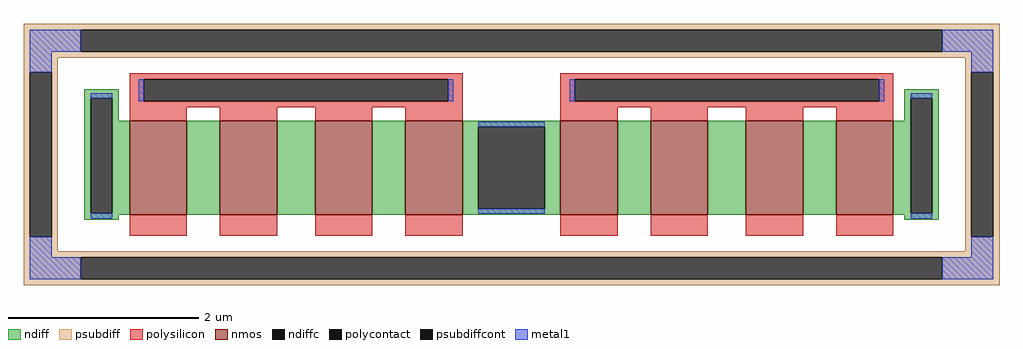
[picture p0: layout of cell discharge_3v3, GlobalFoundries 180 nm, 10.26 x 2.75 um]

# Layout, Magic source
magic
tech gf180mcuD
magscale 1 10
<< nmos >>
rect 317 148 437 346
rect 507 148 627 346
rect 707 148 827 346
rect 897 148 1017 346
rect 1223 148 1343 346
rect 1413 148 1533 346
rect 1613 148 1733 346
rect 1803 148 1923 346
<< ndiff >>
rect 222 393 294 412
rect 222 151 235 393
rect 281 346 294 393
rect 1946 393 2018 412
rect 1946 346 1959 393
rect 281 151 317 346
rect 222 148 317 151
rect 437 148 507 346
rect 627 148 707 346
rect 827 148 897 346
rect 1017 333 1223 346
rect 1017 161 1050 333
rect 1190 161 1223 333
rect 1017 148 1223 161
rect 1343 148 1413 346
rect 1533 148 1613 346
rect 1733 148 1803 346
rect 1923 151 1959 346
rect 2005 151 2018 393
rect 1923 148 2018 151
rect 222 138 294 148
rect 1946 138 2018 148
<< ndiffc >>
rect 235 151 281 393
rect 1050 161 1190 333
rect 1959 151 2005 393
<< psubdiff >>
rect 94 537 2146 550
rect 94 491 214 537
rect 2026 491 2146 537
rect 94 478 2146 491
rect 94 448 166 478
rect 94 102 107 448
rect 153 102 166 448
rect 2074 448 2146 478
rect 94 72 166 102
rect 2074 102 2087 448
rect 2133 102 2146 448
rect 2074 72 2146 102
rect 94 59 2146 72
rect 94 13 214 59
rect 2026 13 2146 59
rect 94 0 2146 13
<< psubdiffcont >>
rect 214 491 2026 537
rect 107 102 153 448
rect 2087 102 2133 448
rect 214 13 2026 59
<< polysilicon >>
rect 317 433 1017 446
rect 317 387 347 433
rect 987 387 1017 433
rect 317 374 1017 387
rect 317 346 437 374
rect 507 346 627 374
rect 707 346 827 374
rect 897 346 1017 374
rect 1223 433 1923 446
rect 1223 387 1253 433
rect 1893 387 1923 433
rect 1223 374 1923 387
rect 1223 346 1343 374
rect 1413 346 1533 374
rect 1613 346 1733 374
rect 1803 346 1923 374
rect 317 104 437 148
rect 507 104 627 148
rect 707 104 827 148
rect 897 104 1017 148
rect 1223 104 1343 148
rect 1413 104 1533 148
rect 1613 104 1733 148
rect 1803 104 1923 148
<< polycontact >>
rect 347 387 987 433
rect 1253 387 1893 433
<< metal1 >>
rect 107 491 214 537
rect 2026 491 2133 537
rect 107 448 153 491
rect 2087 448 2133 491
rect 235 393 281 404
rect 336 387 347 433
rect 987 387 998 433
rect 1242 387 1253 433
rect 1893 387 1904 433
rect 1959 393 2005 404
rect 235 140 281 151
rect 1050 333 1190 344
rect 1050 150 1190 161
rect 1959 140 2005 151
rect 107 59 153 102
rect 2087 59 2133 102
rect 107 13 214 59
rect 2026 13 2133 59
<< properties >>
string FIXED_BBOX 0 0 2240 550
<< end >>
